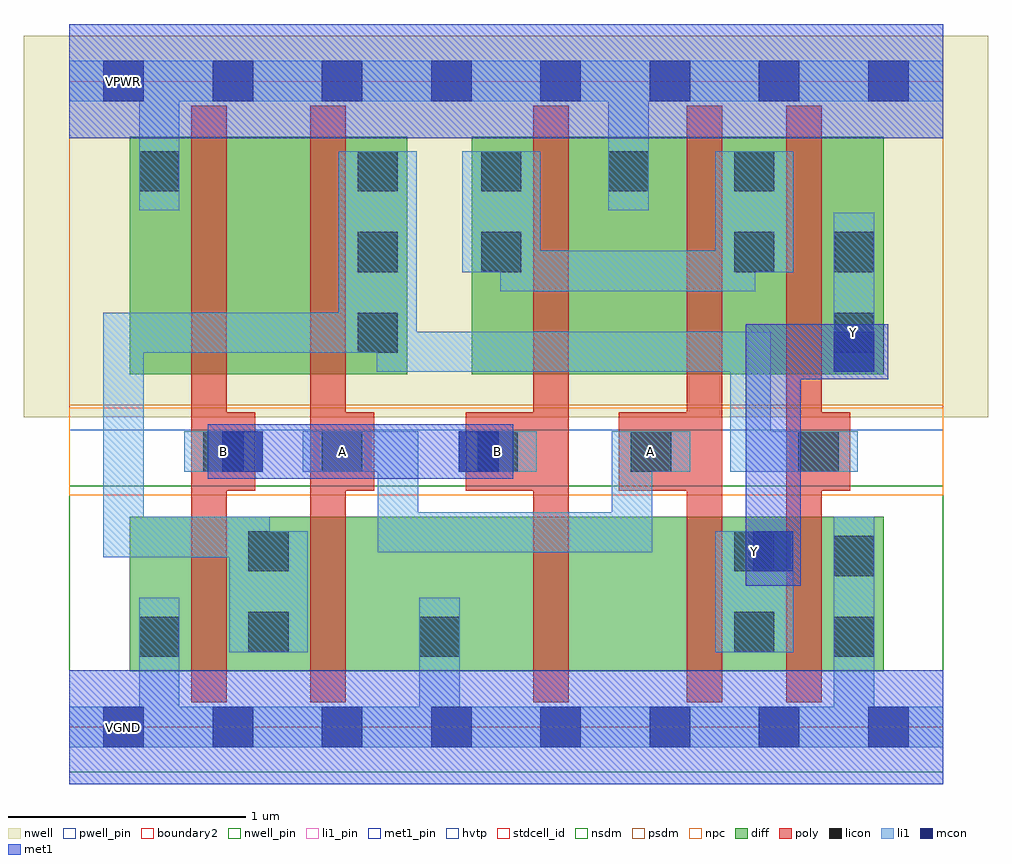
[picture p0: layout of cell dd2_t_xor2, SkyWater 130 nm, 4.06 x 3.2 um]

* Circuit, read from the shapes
.subckt dd2_t_xor2 A B VGND VNB VPB VPWR Y
XM1 n1 B VGND VNB sky130_fd_pr__nfet_01v8 w=0.65 l=0.15
XM2 VGND A n1 VNB sky130_fd_pr__nfet_01v8 w=0.65 l=0.15
XM3 n2 B VGND VNB sky130_fd_pr__nfet_01v8 w=0.65 l=0.15
XM4 Y A n2 VNB sky130_fd_pr__nfet_01v8 w=0.65 l=0.15
XM5 VGND n1 Y VNB sky130_fd_pr__nfet_01v8 w=0.65 l=0.15
XM6 n3 B VPWR VPB sky130_fd_pr__pfet_01v8_hvt w=1 l=0.15
XM7 n1 A n3 VPB sky130_fd_pr__pfet_01v8_hvt w=1 l=0.15
XM8 VPWR B n4 VPB sky130_fd_pr__pfet_01v8_hvt w=1 l=0.15
XM9 n4 A VPWR VPB sky130_fd_pr__pfet_01v8_hvt w=1 l=0.15
XM10 Y n1 n4 VPB sky130_fd_pr__pfet_01v8_hvt w=1 l=0.15
.ends

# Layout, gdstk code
import gdstk
lib = gdstk.Library(unit=1e-6, precision=1e-09)
def R(c, l, rs):  # rectangles x0, y0, x1, y1
    for r in rs: c.add(gdstk.rectangle(r[:2], r[2:], *l))
def A(c, l, x, y, w, h, nx, ny, dx, dy):  # array of equal rectangles
    R(c, l, [(x+i*dx, y+j*dy, x+i*dx+w, y+j*dy+h) for i in range(nx) for j in range(ny)])
nwell_pin = (64, 16)
nwell = (64, 20)
diff = (65, 20)
poly = (66, 20)
licon = (66, 44)
li1_pin = (67, 16)
li1 = (67, 20)
mcon = (67, 44)
met1_pin = (68, 16)
met1 = (68, 20)
hvtp = (78, 44)
stdcell_id = (81, 4)
nsdm = (93, 44)
psdm = (94, 20)
npc = (95, 20)
pwell_pin = (122, 16)
boundary2 = (236, 0)

dd2_t_xor2 = lib.new_cell('dd2_t_xor2')
R(dd2_t_xor2, nwell_pin, [(0.145,2.635,0.315,2.805)])
R(dd2_t_xor2, nwell, [(-0.19,1.305,3.87,2.91)])
R(dd2_t_xor2, diff, [(0.255,0.235,0.84,0.885), (0.84,0.235,1.56,0.885), (1.56,0.235,2.35,0.885), (2.35,0.235,2.885,0.885), (2.885,0.235,3.43,0.885), (0.255,1.485,0.84,2.485), (0.84,1.485,1.425,2.485), (1.695,1.485,2.35,2.485), (2.35,1.485,2.885,2.485), (2.885,1.485,3.43,2.485)])
R(dd2_t_xor2, poly, [(0.515,0.105,0.665,2.615), (1.015,0.105,1.165,2.615), (1.955,0.105,2.105,2.615), (2.6,0.105,2.75,2.615), (3.02,0.105,3.17,2.615), (0.515,0.995,0.785,1.325), (1.015,0.995,1.285,1.325), (1.67,0.995,2.105,1.325), (2.315,0.995,2.75,1.325), (3.02,0.995,3.29,1.325)])
A(dd2_t_xor2, licon, 1.215, 1.575, 0.17, 0.17, 1, 3, 0, 0.34)
R(dd2_t_xor2, licon, [(0.295,0.295,0.465,0.465), (1.475,0.295,1.645,0.465), (3.22,0.295,3.39,0.465), (0.755,0.315,0.925,0.485), (2.8,0.315,2.97,0.485), (3.22,0.635,3.39,0.805), (0.755,0.655,0.925,0.825), (2.8,0.655,2.97,0.825), (0.565,1.075,0.735,1.245), (1.065,1.075,1.235,1.245), (1.72,1.075,1.89,1.245), (2.365,1.075,2.535,1.245), (3.07,1.075,3.24,1.245), (3.22,1.575,3.39,1.745), (1.735,1.915,1.905,2.085), (2.8,1.915,2.97,2.085), (3.22,1.915,3.39,2.085), (0.295,2.255,0.465,2.425), (1.735,2.255,1.905,2.425), (2.27,2.255,2.44,2.425), (2.8,2.255,2.97,2.425)])
R(dd2_t_xor2, li1_pin, [(2.8,0.655,2.97,0.825), (0.565,1.075,0.735,1.245), (1.065,1.075,1.235,1.245), (1.72,1.075,1.89,1.245), (2.365,1.075,2.535,1.245), (3.22,1.575,3.39,1.745)])
R(dd2_t_xor2, li1, [(0,-0.085,3.68,0.085), (0.295,-0.085,0.465,0.545), (1.475,-0.085,1.645,0.545), (3.22,-0.085,3.39,0.545), (3.22,0.295,3.39,0.885), (0.675,0.315,1.005,0.825), (2.72,0.315,3.05,0.825), (0.675,0.655,1.005,0.825), (0.675,0.655,0.845,0.885), (2.72,0.655,3.05,0.825), (0.145,0.715,0.315,1.745), (0.145,0.715,0.845,0.885), (1.3,0.735,1.47,1.245), (1.3,0.735,2.455,0.905), (2.285,0.735,2.455,1.245), (0.485,1.075,0.815,1.245), (0.985,1.075,1.315,1.245), (1.145,1.075,1.47,1.245), (1.64,1.075,1.97,1.245), (2.285,1.075,2.615,1.245), (2.785,1.075,2.955,1.665), (2.785,1.075,3.16,1.245), (2.955,1.075,2.99,1.245), (2.955,1.075,2.99,1.245), (2.955,1.075,2.99,1.245), (2.955,1.075,2.99,1.245), (2.99,1.075,3.32,1.245), (1.295,1.495,2.955,1.665), (1.295,1.495,1.465,1.745), (3.22,1.495,3.39,1.825), (0.145,1.575,1.305,1.745), (1.135,1.575,1.465,1.745), (1.135,1.575,1.465,2.085), (3.22,1.575,3.39,2.165), (1.815,1.835,1.985,2.425), (1.815,1.835,2.89,2.005), (2.72,1.835,2.89,2.425), (1.135,1.915,1.465,2.425), (1.655,1.915,1.985,2.425), (2.72,1.915,3.05,2.425), (0.295,2.175,0.465,2.805), (2.27,2.175,2.44,2.805), (1.655,2.255,1.985,2.425), (2.72,2.255,3.05,2.425), (0,2.635,3.68,2.805)])
A(dd2_t_xor2, mcon, 0.145, -0.085, 0.17, 0.17, 8, 2, 0.46, 2.72)
R(dd2_t_xor2, mcon, [(2.88,0.655,3.05,0.825), (0.645,1.075,0.815,1.245), (1.64,1.075,1.81,1.245), (3.22,1.495,3.39,1.665)])
R(dd2_t_xor2, met1_pin, [(0.145,-0.085,0.315,0.085), (0.145,2.635,0.315,2.805)])
R(dd2_t_xor2, met1, [(0,-0.24,3.68,0.24), (2.85,0.595,3.08,0.885), (2.85,0.625,3.08,1.695), (0.585,1.045,0.875,1.275), (0.615,1.045,1.84,1.275), (1.58,1.045,1.87,1.275), (2.85,1.465,3.42,1.695), (3.08,1.465,3.16,1.695), (3.08,1.465,3.16,1.695), (3.08,1.465,3.16,1.695), (3.08,1.465,3.16,1.695), (3.16,1.465,3.45,1.695), (0,2.48,3.68,2.96)])
R(dd2_t_xor2, hvtp, [(0,1.25,3.68,2.72)])
R(dd2_t_xor2, stdcell_id, [(0,0,3.68,2.72)])
R(dd2_t_xor2, nsdm, [(0,-0.19,3.68,1.015)])
R(dd2_t_xor2, psdm, [(0,1.355,3.68,2.91)])
R(dd2_t_xor2, npc, [(0,0.975,3.68,1.345)])
R(dd2_t_xor2, pwell_pin, [(0.145,-0.085,0.315,0.085)])
R(dd2_t_xor2, boundary2, [(0,0,3.68,2.72)])
dd2_t_xor2.add(gdstk.Label('A', (1.15,1.16), layer=67, texttype=5))
dd2_t_xor2.add(gdstk.Label('A', (2.45,1.16), layer=67, texttype=5))
dd2_t_xor2.add(gdstk.Label('B', (0.65,1.16), layer=67, texttype=5))
dd2_t_xor2.add(gdstk.Label('B', (1.805,1.16), layer=67, texttype=5))
dd2_t_xor2.add(gdstk.Label('Y', (2.885,0.74), layer=67, texttype=5))
dd2_t_xor2.add(gdstk.Label('Y', (3.305,1.66), layer=67, texttype=5))
dd2_t_xor2.add(gdstk.Label('VGND', (0.23,0), layer=68, texttype=5))
dd2_t_xor2.add(gdstk.Label('VPWR', (0.23,2.72), layer=68, texttype=5))
dd2_t_xor2.add(gdstk.Label('VPB', (0.23,2.72), layer=64, texttype=5))
dd2_t_xor2.add(gdstk.Label('VNB', (0.23,0), layer=64, texttype=59))

lib.write_gds('dd2_t_xor2.gds')
